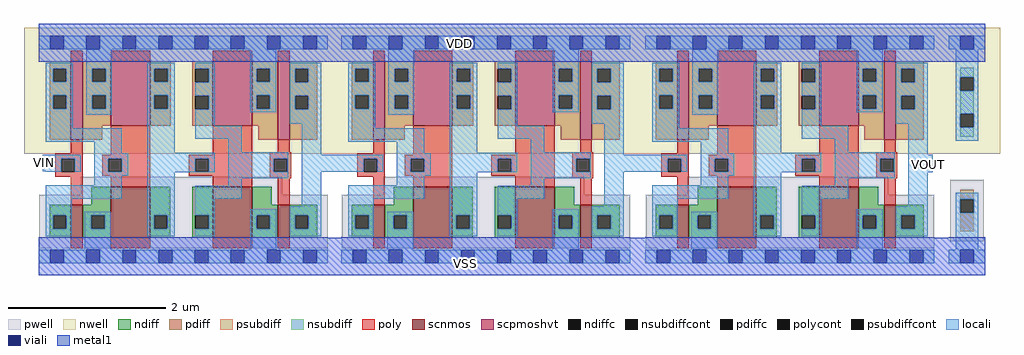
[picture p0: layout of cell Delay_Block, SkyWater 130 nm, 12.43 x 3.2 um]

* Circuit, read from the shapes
.subckt Delay_Block VDD VSS VOUT VIN
XM1 VSS VIN n1 VSS sky130_fd_pr__nfet_01v8 w=0.42 l=0.15
XM2 n2 n1 VSS VSS sky130_fd_pr__nfet_01v8 w=0.65 l=0.5
XM3 VSS n2 n3 VSS sky130_fd_pr__nfet_01v8 w=0.65 l=0.5
XM4 sky130_fd_sc_hd__clkdlybuf4s50_1_2/A n3 VSS VSS sky130_fd_pr__nfet_01v8 w=0.42 l=0.15
XM5 VSS sky130_fd_sc_hd__clkdlybuf4s50_1_2/A n4 VSS sky130_fd_pr__nfet_01v8 w=0.42 l=0.15
XM6 n5 n4 VSS VSS sky130_fd_pr__nfet_01v8 w=0.65 l=0.5
XM7 VSS n5 n6 VSS sky130_fd_pr__nfet_01v8 w=0.65 l=0.5
XM8 sky130_fd_sc_hd__clkdlybuf4s50_1_0/A n6 VSS VSS sky130_fd_pr__nfet_01v8 w=0.42 l=0.15
XM9 VSS sky130_fd_sc_hd__clkdlybuf4s50_1_0/A n7 VSS sky130_fd_pr__nfet_01v8 w=0.42 l=0.15
XM10 n8 n7 VSS VSS sky130_fd_pr__nfet_01v8 w=0.65 l=0.5
XM11 VSS n8 n9 VSS sky130_fd_pr__nfet_01v8 w=0.65 l=0.5
XM12 VOUT n9 VSS VSS sky130_fd_pr__nfet_01v8 w=0.42 l=0.15
XM13 VDD VIN n1 VDD sky130_fd_pr__pfet_01v8_hvt w=1 l=0.15
XM14 n2 n1 VDD VDD sky130_fd_pr__pfet_01v8_hvt w=0.82 l=0.5
XM15 VDD n2 n3 VDD sky130_fd_pr__pfet_01v8_hvt w=0.82 l=0.5
XM16 sky130_fd_sc_hd__clkdlybuf4s50_1_2/A n3 VDD VDD sky130_fd_pr__pfet_01v8_hvt w=1 l=0.15
XM17 VDD sky130_fd_sc_hd__clkdlybuf4s50_1_2/A n4 VDD sky130_fd_pr__pfet_01v8_hvt w=1 l=0.15
XM18 n5 n4 VDD VDD sky130_fd_pr__pfet_01v8_hvt w=0.82 l=0.5
XM19 VDD n5 n6 VDD sky130_fd_pr__pfet_01v8_hvt w=0.82 l=0.5
XM20 sky130_fd_sc_hd__clkdlybuf4s50_1_0/A n6 VDD VDD sky130_fd_pr__pfet_01v8_hvt w=1 l=0.15
XM21 VDD sky130_fd_sc_hd__clkdlybuf4s50_1_0/A n7 VDD sky130_fd_pr__pfet_01v8_hvt w=1 l=0.15
XM22 n8 n7 VDD VDD sky130_fd_pr__pfet_01v8_hvt w=0.82 l=0.5
XM23 VDD n8 n9 VDD sky130_fd_pr__pfet_01v8_hvt w=0.82 l=0.5
XM24 VOUT n9 VDD VDD sky130_fd_pr__pfet_01v8_hvt w=1 l=0.15
.ends

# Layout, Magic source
magic
tech sky130B
magscale 1 2
<< locali >>
rect 10 216 24 258
rect 715 215 789 258
rect 1485 215 1562 258
rect 2214 214 2276 258
<< metal1 >>
rect 0 495 2409 592
rect 0 -48 2409 47
use sky130_fd_sc_hd__clkdlybuf4s50_1  sky130_fd_sc_hd__clkdlybuf4s50_1_0
transform 1 0 1544 0 1 0
box -38 -48 774 592
use sky130_fd_sc_hd__clkdlybuf4s50_1  sky130_fd_sc_hd__clkdlybuf4s50_1_1
transform 1 0 0 0 1 0
box -38 -48 774 592
use sky130_fd_sc_hd__clkdlybuf4s50_1  sky130_fd_sc_hd__clkdlybuf4s50_1_2
transform 1 0 770 0 1 0
box -38 -48 774 592
use sky130_fd_sc_hd__tapvpwrvgnd_1  sky130_fd_sc_hd__tapvpwrvgnd_1_0
transform 1 0 2317 0 1 0
box -38 -48 130 592
<< labels >>
flabel metal1 s 1070 542 1070 542 0 FreeSans 200 0 0 0 VDD
port 1 nsew
flabel metal1 s 1087 -18 1087 -18 0 FreeSans 200 0 0 0 VSS
port 2 nsew
flabel locali s 2266 234 2266 234 0 FreeSans 1000 0 0 0 VOUT
port 3 nsew
flabel locali s 14 238 14 238 0 FreeSans 1000 0 0 0 VIN
port 4 nsew
<< end >>

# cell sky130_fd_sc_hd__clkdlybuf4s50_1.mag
magic
tech sky130B
magscale 1 2
<< nwell >>
rect -38 261 774 582
<< pwell >>
rect 107 157 619 203
rect 1 21 735 157
rect 30 -17 64 21
<< scnmos >>
rect 81 47 111 131
rect 183 47 283 177
rect 443 47 543 177
rect 608 47 638 131
<< scpmoshvt >>
rect 81 297 111 497
rect 183 333 283 497
rect 443 333 543 497
rect 608 297 638 497
<< ndiff >>
rect 133 131 183 177
rect 27 104 81 131
rect 27 70 36 104
rect 70 70 81 104
rect 27 47 81 70
rect 111 104 183 131
rect 111 70 133 104
rect 167 70 183 104
rect 111 47 183 70
rect 283 104 335 177
rect 283 70 293 104
rect 327 70 335 104
rect 283 47 335 70
rect 390 104 443 177
rect 390 70 398 104
rect 432 70 443 104
rect 390 47 443 70
rect 543 131 593 177
rect 543 104 608 131
rect 543 70 554 104
rect 588 70 608 104
rect 543 47 608 70
rect 638 104 709 131
rect 638 70 652 104
rect 686 70 709 104
rect 638 47 709 70
<< pdiff >>
rect 27 478 81 497
rect 27 444 36 478
rect 70 444 81 478
rect 27 410 81 444
rect 27 376 36 410
rect 70 376 81 410
rect 27 297 81 376
rect 111 478 183 497
rect 111 444 136 478
rect 170 444 183 478
rect 111 410 183 444
rect 111 376 136 410
rect 170 376 183 410
rect 111 333 183 376
rect 283 478 336 497
rect 283 444 294 478
rect 328 444 336 478
rect 283 410 336 444
rect 283 376 294 410
rect 328 376 336 410
rect 283 333 336 376
rect 390 477 443 497
rect 390 443 398 477
rect 432 443 443 477
rect 390 409 443 443
rect 390 375 398 409
rect 432 375 443 409
rect 390 333 443 375
rect 543 478 608 497
rect 543 444 554 478
rect 588 444 608 478
rect 543 410 608 444
rect 543 376 554 410
rect 588 376 608 410
rect 543 333 608 376
rect 111 297 161 333
rect 558 297 608 333
rect 638 477 709 497
rect 638 443 652 477
rect 686 443 709 477
rect 638 409 709 443
rect 638 375 652 409
rect 686 375 709 409
rect 638 297 709 375
<< ndiffc >>
rect 36 70 70 104
rect 133 70 167 104
rect 293 70 327 104
rect 398 70 432 104
rect 554 70 588 104
rect 652 70 686 104
<< pdiffc >>
rect 36 444 70 478
rect 36 376 70 410
rect 136 444 170 478
rect 136 376 170 410
rect 294 444 328 478
rect 294 376 328 410
rect 398 443 432 477
rect 398 375 432 409
rect 554 444 588 478
rect 554 376 588 410
rect 652 443 686 477
rect 652 375 686 409
<< poly >>
rect 81 497 111 523
rect 183 497 283 523
rect 443 497 543 523
rect 608 497 638 523
rect 81 262 111 297
rect 41 249 111 262
rect 183 259 283 333
rect 443 259 543 333
rect 608 265 638 297
rect 41 215 57 249
rect 91 215 111 249
rect 41 203 111 215
rect 161 249 283 259
rect 161 215 177 249
rect 211 215 283 249
rect 161 205 283 215
rect 382 249 543 259
rect 382 215 398 249
rect 432 215 543 249
rect 382 205 543 215
rect 81 131 111 203
rect 183 177 283 205
rect 443 177 543 205
rect 588 249 642 265
rect 588 215 598 249
rect 632 215 642 249
rect 588 199 642 215
rect 608 131 638 199
rect 81 21 111 47
rect 183 21 283 47
rect 443 21 543 47
rect 608 21 638 47
<< polycont >>
rect 57 215 91 249
rect 177 215 211 249
rect 398 215 432 249
rect 598 215 632 249
<< locali >>
rect 0 527 29 561
rect 63 527 121 561
rect 155 527 213 561
rect 247 527 305 561
rect 339 527 397 561
rect 431 527 489 561
rect 523 527 581 561
rect 615 527 673 561
rect 707 527 736 561
rect 17 478 86 493
rect 17 444 36 478
rect 70 444 86 478
rect 17 410 86 444
rect 17 376 36 410
rect 70 376 86 410
rect 17 326 86 376
rect 120 478 186 527
rect 120 444 136 478
rect 170 444 186 478
rect 120 410 186 444
rect 120 376 136 410
rect 170 376 186 410
rect 120 360 186 376
rect 276 478 346 493
rect 276 444 294 478
rect 328 444 346 478
rect 276 410 346 444
rect 276 376 294 410
rect 328 376 346 410
rect 17 292 211 326
rect 141 263 211 292
rect 276 264 346 376
rect 398 477 448 493
rect 432 443 448 477
rect 398 409 448 443
rect 432 375 448 409
rect 398 333 448 375
rect 538 478 604 527
rect 538 444 554 478
rect 588 444 604 478
rect 538 410 604 444
rect 538 376 554 410
rect 588 376 604 410
rect 538 367 604 376
rect 638 477 719 493
rect 638 443 652 477
rect 686 443 719 477
rect 638 409 719 443
rect 638 375 652 409
rect 686 375 719 409
rect 638 338 719 375
rect 398 299 516 333
rect 482 265 516 299
rect 17 249 107 258
rect 17 215 57 249
rect 91 215 107 249
rect 141 249 227 263
rect 141 215 177 249
rect 211 215 227 249
rect 141 205 227 215
rect 276 249 448 264
rect 276 215 398 249
rect 432 215 448 249
rect 276 214 448 215
rect 482 249 635 265
rect 482 215 598 249
rect 632 215 635 249
rect 141 181 211 205
rect 17 147 211 181
rect 17 104 83 147
rect 17 70 36 104
rect 70 70 83 104
rect 17 51 83 70
rect 117 104 183 113
rect 117 70 133 104
rect 167 70 183 104
rect 117 17 183 70
rect 276 104 346 214
rect 482 199 635 215
rect 482 180 516 199
rect 276 70 293 104
rect 327 70 346 104
rect 276 51 346 70
rect 398 146 516 180
rect 398 104 448 146
rect 669 128 719 338
rect 432 70 448 104
rect 398 51 448 70
rect 538 104 604 120
rect 538 70 554 104
rect 588 70 604 104
rect 538 17 604 70
rect 638 104 719 128
rect 638 70 652 104
rect 686 70 719 104
rect 638 51 719 70
rect 0 -17 29 17
rect 63 -17 121 17
rect 155 -17 213 17
rect 247 -17 305 17
rect 339 -17 397 17
rect 431 -17 489 17
rect 523 -17 581 17
rect 615 -17 673 17
rect 707 -17 736 17
<< viali >>
rect 29 527 63 561
rect 121 527 155 561
rect 213 527 247 561
rect 305 527 339 561
rect 397 527 431 561
rect 489 527 523 561
rect 581 527 615 561
rect 673 527 707 561
rect 29 -17 63 17
rect 121 -17 155 17
rect 213 -17 247 17
rect 305 -17 339 17
rect 397 -17 431 17
rect 489 -17 523 17
rect 581 -17 615 17
rect 673 -17 707 17
<< metal1 >>
rect 0 561 736 592
rect 0 527 29 561
rect 63 527 121 561
rect 155 527 213 561
rect 247 527 305 561
rect 339 527 397 561
rect 431 527 489 561
rect 523 527 581 561
rect 615 527 673 561
rect 707 527 736 561
rect 0 496 736 527
rect 0 17 736 48
rect 0 -17 29 17
rect 63 -17 121 17
rect 155 -17 213 17
rect 247 -17 305 17
rect 339 -17 397 17
rect 431 -17 489 17
rect 523 -17 581 17
rect 615 -17 673 17
rect 707 -17 736 17
rect 0 -48 736 -17
<< labels >>
flabel locali s 30 221 64 255 0 FreeSans 400 0 0 0 A
port 1 nsew
flabel locali s 676 425 710 459 0 FreeSans 400 0 0 0 X
port 2 nsew
flabel locali s 676 357 710 391 0 FreeSans 400 0 0 0 X
port 2 nsew
flabel locali s 676 289 710 323 0 FreeSans 400 0 0 0 X
port 2 nsew
flabel locali s 676 221 710 255 0 FreeSans 400 0 0 0 X
port 2 nsew
flabel locali s 676 153 710 187 0 FreeSans 400 0 0 0 X
port 2 nsew
flabel locali s 676 85 710 119 0 FreeSans 400 0 0 0 X
port 2 nsew
flabel pwell s 30 -17 64 17 0 FreeSans 200 0 0 0 VNB
port 3 nsew
flabel nwell s 30 527 64 561 0 FreeSans 200 0 0 0 VPB
port 4 nsew
flabel metal1 s 30 -17 64 17 0 FreeSans 200 0 0 0 VGND
port 5 nsew
flabel metal1 s 30 527 64 561 0 FreeSans 200 0 0 0 VPWR
port 6 nsew
rlabel comment s 0 0 0 0 4 clkdlybuf4s50_1
<< properties >>
string FIXED_BBOX 0 0 736 544
string path 0.000 0.000 3.680 0.000 
<< end >>

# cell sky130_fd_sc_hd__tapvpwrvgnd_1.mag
magic
tech sky130B
magscale 1 2
<< nwell >>
rect -38 261 130 582
<< pwell >>
rect 3 38 89 195
<< psubdiff >>
rect 29 145 63 169
rect 29 64 63 111
<< nsubdiff >>
rect 29 456 63 480
rect 29 363 63 422
rect 29 305 63 329
<< psubdiffcont >>
rect 29 111 63 145
<< nsubdiffcont >>
rect 29 422 63 456
rect 29 329 63 363
<< locali >>
rect 0 527 29 561
rect 63 527 92 561
rect 17 456 75 527
rect 17 422 29 456
rect 63 422 75 456
rect 17 363 75 422
rect 17 329 29 363
rect 63 329 75 363
rect 17 294 75 329
rect 17 145 75 162
rect 17 111 29 145
rect 63 111 75 145
rect 17 17 75 111
rect 0 -17 29 17
rect 63 -17 92 17
<< viali >>
rect 29 527 63 561
rect 29 -17 63 17
<< metal1 >>
rect 0 561 92 592
rect 0 527 29 561
rect 63 527 92 561
rect 0 496 92 527
rect 0 17 92 48
rect 0 -17 29 17
rect 63 -17 92 17
rect 0 -48 92 -17
<< labels >>
flabel metal1 s 22 524 75 553 0 FreeSans 200 0 0 0 VPWR
port 1 nsew
flabel metal1 s 21 -18 72 20 0 FreeSans 200 0 0 0 VGND
port 2 nsew
rlabel comment s 0 0 0 0 4 tapvpwrvgnd_1
<< properties >>
string FIXED_BBOX 0 0 92 544
<< end >>
